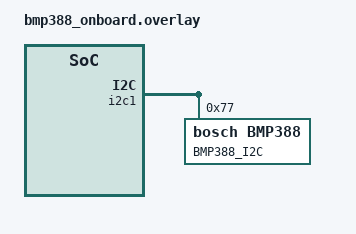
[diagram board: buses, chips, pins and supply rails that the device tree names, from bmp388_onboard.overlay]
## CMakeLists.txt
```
# SPDX-License-Identifier: Apache-2.0

cmake_minimum_required(VERSION 3.20.0)

list(APPEND BOARD_ROOT ${CMAKE_CURRENT_SOURCE_DIR}/../../cas-zephyr-drivers/zephyr)
list(APPEND SOC_ROOT ${CMAKE_CURRENT_SOURCE_DIR}/../../cas-zephyr-drivers/zephyr)
list(APPEND DTS_ROOT ${CMAKE_CURRENT_SOURCE_DIR}/../../cas-zephyr-drivers/zephyr)

list(APPEND ZEPHYR_EXTRA_MODULES ${CMAKE_CURRENT_SOURCE_DIR}/../../cas-zephyr-drivers/zephyr/drivers/BMP388_driver)

# To add out-of-tree device drivers to the project, uncomment the following line.
# list(APPEND ZEPHYR_EXTRA_MODULES ${CMAKE_CURRENT_SOURCE_DIR}/../../cas-zephyr-drivers/zephyr/drivers/my_driver)

find_package(Zephyr REQUIRED HINTS $ENV{ZEPHYR_BASE})

# Update the following line to contain the name of the current application.
project(bmp388-i2c)

target_sources(app PRIVATE src/main.c)
```

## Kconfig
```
config LOG
        default y

config LOG_PRINTK
        default y

config SENSOR_LOG_LEVEL
        default 4

# Enable SPI and I2C support by default so that the sample works with
# the device connected either way. These defaults can be overridden if
# needed.
config SPI
        default n

config I2C
        default y


source "Kconfig.zephyr"
```

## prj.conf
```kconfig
CONFIG_SENSOR=y
CONFIG_I2C=y
CONFIG_SPI=n

CONFIG_BMP388=y
# CONFIG_BMP388_TRIGGER_GLOBAL_THREAD=y
# CONFIG_BMP388_TRIGGER_NONE=y
```

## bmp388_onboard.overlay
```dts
&i2c1 {
	status = "okay";
	bmp388@77 {
		compatible = "bosch,bmp388";
		reg = <0x77>;
		label = "BMP388_I2C";
	};
};		
```

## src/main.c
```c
/*
 * Copyright (c) 2016 Intel Corporation
 *
 * SPDX-License-Identifier: Apache-2.0
 */

 // Documentation: https://docs.zephyrproject.org/3.0.0/reference/devicetree/bindings/sensor/bosch%2Cbmp388-i2c.html#dtbinding-bosch-bmp388-i2c

#include <zephyr.h>
#include <device.h>
#include <devicetree.h>
#include <drivers/sensor.h>

#define DEVICE_NODE bmp388_i2c_node

void main(void) {

	printk("BMP388 sensor application.\n");

	const struct device *i2c_dev = DEVICE_DT_GET(DT_NODELABEL(DEVICE_NODE));
	struct sensor_value val;

	if (i2c_dev == NULL) {
		printk("Failed to get device binding.\n");
		return;
	} else {
		printk("Got device binding.\n");
	}

	if (!device_is_ready(i2c_dev)) {
		printk("Device is not ready.\n");
		return;
	} else {
		printk("Device is ready.\n");
	}

	while (1) {

		k_msleep(1000);

		if (sensor_sample_fetch(i2c_dev) != 0) {
			printk("Sensor sample fetch fail.\n");
			continue;
		} else {
			printk("Sensor sample fetch succeeded.\n");
		}

		if (sensor_channel_get(i2c_dev, SENSOR_CHAN_PRESS, &val) != 0) {
			printk("Sensor channel get fail.\n");
			continue;
		} else {
			printk("Sensor channel get succeeded.\n");
		}

		printk("sensor: pressure reading: %d kilopascal.\n", val.val1);

	}

}
```
